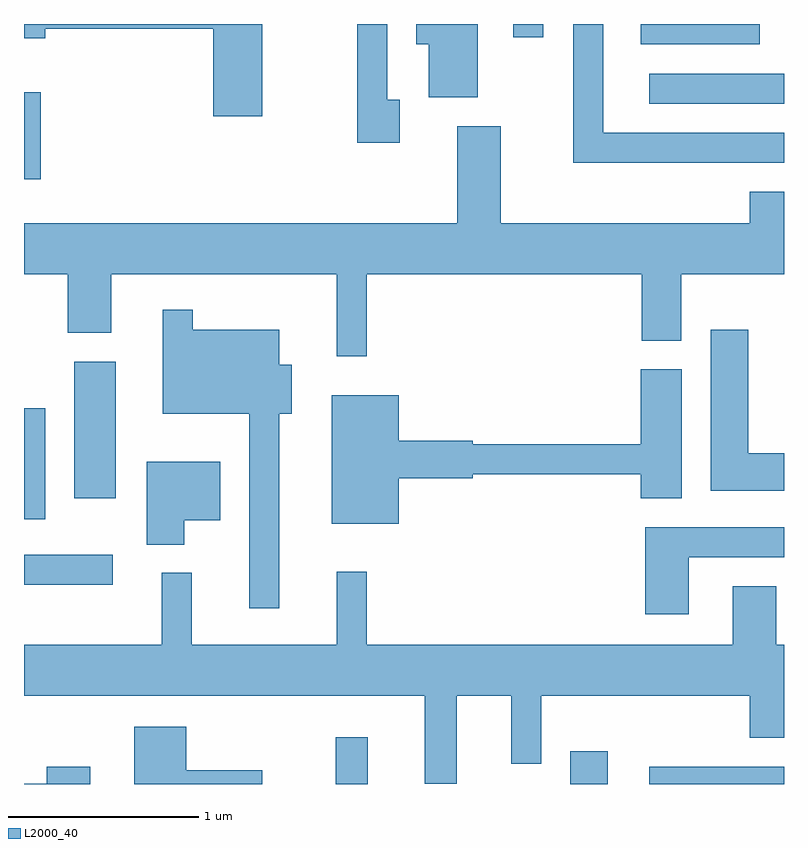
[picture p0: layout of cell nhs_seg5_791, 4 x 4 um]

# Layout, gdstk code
import gdstk
lib = gdstk.Library(unit=1e-6, precision=1e-09)
def R(c, l, rs):  # rectangles x0, y0, x1, y1
    for r in rs: c.add(gdstk.rectangle(r[:2], r[2:], *l))
def P(c, l, *ps):  # polygons
    for p in ps: c.add(gdstk.Polygon(p, *l))
L2000_40 = (2000, 40)

nhs_seg5_791 = lib.new_cell('nhs_seg5_791')
R(nhs_seg5_791, L2000_40, [(209.251,1494.072,209.419,1494.318), (210.486,1494.072,210.684,1494.244), (210.903,1494.072,211.611,1494.164), (207.611,1495.121,208.078,1495.279), (207.611,1495.466,207.724,1496.049), (207.876,1495.576,208.094,1496.294), (207.611,1497.256,207.699,1497.714), (210.903,1497.651,211.611,1497.809), (210.856,1497.966,211.483,1498.072), (210.186,1498.003,210.344,1498.072)])
P(nhs_seg5_791, L2000_40, [(208.864,1498.072),(207.611,1498.072),(207.611,1497.996),(207.724,1497.996),(207.724,1498.046),(208.606,1498.046),(208.606,1497.586),(208.864,1497.586)],
  [(209.999,1498.072),(209.676,1498.072),(209.676,1497.966),(209.741,1497.966),(209.741,1497.686),(209.999,1497.686)],
  [(209.589,1497.674),(209.524,1497.674),(209.524,1498.072),(209.366,1498.072),(209.366,1497.446),(209.589,1497.446)],
  [(211.611,1497.499),(210.659,1497.499),(210.659,1498.072),(210.501,1498.072),(210.501,1497.341),(211.611,1497.341)],
  [(209.414,1496.756),(210.861,1496.756),(210.861,1496.406),(211.069,1496.406),(211.069,1496.756),(211.611,1496.756),(211.611,1497.189),(211.431,1497.189),(211.431,1497.024),(210.119,1497.024),(210.119,1497.534),(209.891,1497.534),(209.891,1497.024),(207.611,1497.024),(207.611,1496.756),(207.841,1496.756),(207.841,1496.446),(208.069,1496.446),(208.069,1496.756),(209.256,1496.756),(209.256,1496.323),(209.414,1496.323)],
  [(208.954,1496.021),(209.019,1496.021),(209.019,1496.279),(208.954,1496.279),(208.954,1496.464),(208.499,1496.464),(208.499,1496.568),(208.341,1496.568),(208.341,1496.021),(208.796,1496.021),(208.796,1494.998),(208.954,1494.998)],
  [(211.611,1495.814),(211.424,1495.814),(211.424,1496.464),(211.226,1496.464),(211.226,1495.616),(211.611,1495.616)],
  [(209.584,1495.681),(209.974,1495.681),(209.974,1495.701),(210.856,1495.701),(210.856,1495.576),(211.074,1495.576),(211.074,1496.254),(210.856,1496.254),(210.856,1495.859),(209.974,1495.859),(209.974,1495.879),(209.584,1495.879),(209.584,1496.119),(209.231,1496.119),(209.231,1495.441),(209.584,1495.441)],
  [(208.454,1495.461),(208.644,1495.461),(208.644,1495.769),(208.256,1495.769),(208.256,1495.331),(208.454,1495.331)],
  [(211.109,1495.266),(211.611,1495.266),(211.611,1495.424),(210.881,1495.424),(210.881,1494.966),(211.109,1494.966)],
  [(209.889,1494.536),(210.176,1494.536),(210.176,1494.178),(210.334,1494.178),(210.334,1494.536),(211.431,1494.536),(211.431,1494.316),(211.611,1494.316),(211.611,1494.804),(211.569,1494.804),(211.569,1495.114),(211.341,1495.114),(211.341,1494.804),(209.414,1494.804),(209.414,1495.188),(209.256,1495.188),(209.256,1494.804),(208.494,1494.804),(208.494,1495.183),(208.336,1495.183),(208.336,1494.804),(207.611,1494.804),(207.611,1494.536),(209.721,1494.536),(209.721,1494.073),(209.889,1494.073)],
  [(208.864,1494.144),(208.464,1494.144),(208.464,1494.374),(208.191,1494.374),(208.191,1494.072),(208.864,1494.072)],
  [(207.959,1494.164),(207.731,1494.164),(207.731,1494.074),(207.611,1494.074),(207.611,1494.072),(207.959,1494.072)])

lib.write_gds('nhs_seg5_791.gds')
